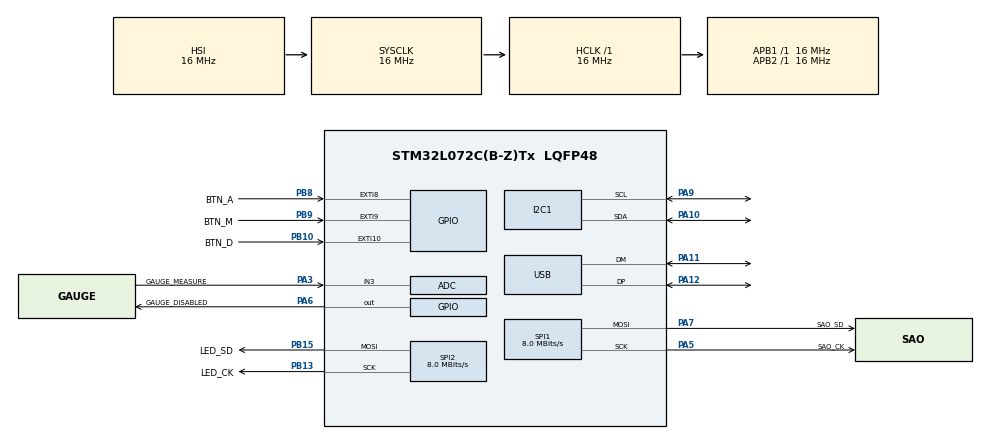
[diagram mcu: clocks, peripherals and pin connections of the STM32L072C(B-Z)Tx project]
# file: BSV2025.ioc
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ADC.ClockPrescaler=ADC_CLOCK_SYNC_PCLK_DIV1
ADC.ContinuousConvMode=DISABLE
ADC.DMAContinuousRequests=DISABLE
ADC.DataAlign=ADC_DATAALIGN_RIGHT
ADC.DiscontinuousConvMode=DISABLE
ADC.EOCSelection=ADC_EOC_SEQ_CONV
ADC.LowPowerAutoPowerOff=DISABLE
ADC.LowPowerAutoWait=DISABLE
ADC.LowPowerFrequencyMode=DISABLE
ADC.Overrun=ADC_OVR_DATA_PRESERVED
ADC.SamplingTime=ADC_SAMPLETIME_19CYCLES_5
ADC.ScanConvMode=ADC_SCAN_DIRECTION_FORWARD
Dma.ADC.2.Direction=DMA_PERIPH_TO_MEMORY
Dma.ADC.2.Instance=DMA1_Channel1
Dma.ADC.2.MemDataAlignment=DMA_MDATAALIGN_HALFWORD
Dma.ADC.2.MemInc=DMA_MINC_ENABLE
Dma.ADC.2.Mode=DMA_NORMAL
Dma.ADC.2.PeriphDataAlignment=DMA_PDATAALIGN_HALFWORD
Dma.ADC.2.PeriphInc=DMA_PINC_DISABLE
Dma.ADC.2.Priority=DMA_PRIORITY_LOW
Dma.Request0=SPI2_TX
Dma.Request1=SPI1_TX
Dma.Request2=ADC
Dma.SPI1_TX.1.Direction=DMA_MEMORY_TO_PERIPH
Dma.SPI1_TX.1.Instance=DMA1_Channel3
Dma.SPI1_TX.1.MemDataAlignment=DMA_MDATAALIGN_BYTE
Dma.SPI1_TX.1.MemInc=DMA_MINC_ENABLE
Dma.SPI1_TX.1.Mode=DMA_NORMAL
Dma.SPI1_TX.1.PeriphDataAlignment=DMA_PDATAALIGN_BYTE
Dma.SPI1_TX.1.PeriphInc=DMA_PINC_DISABLE
Dma.SPI1_TX.1.Priority=DMA_PRIORITY_LOW
Dma.SPI2_TX.0.Direction=DMA_MEMORY_TO_PERIPH
Dma.SPI2_TX.0.Instance=DMA1_Channel5
Dma.SPI2_TX.0.MemDataAlignment=DMA_MDATAALIGN_BYTE
Dma.SPI2_TX.0.MemInc=DMA_MINC_ENABLE
Dma.SPI2_TX.0.Mode=DMA_NORMAL
Dma.SPI2_TX.0.PeriphDataAlignment=DMA_PDATAALIGN_BYTE
Dma.SPI2_TX.0.PeriphInc=DMA_PINC_DISABLE
Dma.SPI2_TX.0.Priority=DMA_PRIORITY_LOW
I2C1.I2C_Fall_Time=0
I2C1.I2C_Rise_Time=0
I2C1.NoStretchMode=I2C_NOSTRETCH_DISABLE
I2C1.Timing=0x00303D5B
Mcu.Family=STM32L0
Mcu.Name=STM32L072C(B-Z)Tx
Mcu.Package=LQFP48
NVIC.DMA1_Channel1_IRQn=true\:0\:0\:false\:false\:true\:false\:true\:true
NVIC.DMA1_Channel2_3_IRQn=true\:0\:0\:false\:false\:true\:false\:true\:true
NVIC.DMA1_Channel4_5_6_7_IRQn=true\:0\:0\:false\:false\:true\:false\:true\:true
NVIC.EXTI4_15_IRQn=true\:0\:0\:false\:false\:true\:true\:true\:true
NVIC.USB_IRQn=true\:0\:0\:false\:false\:true\:false\:true\:true
PA10.GPIO_Pu=GPIO_NOPULL
PA10.Mode=I2C
PA10.Signal=I2C1_SDA
PA11.Mode=Device
PA11.Signal=USB_DM
PA12.Mode=Device
PA12.Signal=USB_DP
PA13.Mode=Serial_Wire
PA13.Signal=SYS_SWDIO
PA14.Mode=Serial_Wire
PA14.Signal=SYS_SWCLK
PA3.GPIO_Label=GAUGE_MEASURE
PA3.Mode=IN3
PA3.Signal=ADC_IN3
PA5.GPIO_Label=SAO_CK
PA5.Mode=TX_Only_Simplex_Unidirect_Master
PA5.Signal=SPI1_SCK
PA6.GPIO_Label=GAUGE_DISABLED
PA6.PinState=GPIO_PIN_SET
PA6.Signal=GPIO_Output
PA7.GPIO_Label=SAO_SD
PA7.Mode=TX_Only_Simplex_Unidirect_Master
PA7.Signal=SPI1_MOSI
PA9.GPIO_Pu=GPIO_NOPULL
PA9.Mode=I2C
PA9.Signal=I2C1_SCL
PB10.GPIO_Label=BTN_D
PB10.GPIO_ModeDefaultEXTI=GPIO_MODE_IT_FALLING
PB10.GPIO_PuPd=GPIO_PULLUP
PB10.Signal=GPXTI10
PB13.GPIO_Label=LED_CK
PB13.Mode=TX_Only_Simplex_Unidirect_Master
PB13.Signal=SPI2_SCK
PB15.GPIO_Label=LED_SD
PB15.Mode=TX_Only_Simplex_Unidirect_Master
PB15.Signal=SPI2_MOSI
PB8.GPIO_Label=BTN_A
PB8.GPIO_ModeDefaultEXTI=GPIO_MODE_IT_FALLING
PB8.GPIO_PuPd=GPIO_PULLUP
PB8.Signal=GPXTI8
PB9.GPIO_Label=BTN_M
PB9.GPIO_ModeDefaultEXTI=GPIO_MODE_IT_FALLING
PB9.GPIO_PuPd=GPIO_PULLDOWN
PB9.Signal=GPXTI9
ProjectManager.HeapSize=0x200
ProjectManager.StackSize=0x400
ProjectManager.TargetToolchain=STM32CubeIDE
RCC.AHBFreq_Value=16000000
RCC.APB1Freq_Value=16000000
RCC.APB1TimFreq_Value=16000000
RCC.APB2Freq_Value=16000000
RCC.APB2TimFreq_Value=16000000
RCC.HCLKFreq_Value=16000000
RCC.HSE_VALUE=8000000
RCC.HSI16_VALUE=16000000
RCC.HSI48MClockSelection=RCC_USBCLKSOURCE_HSI48
RCC.HSI48_VALUE=48000000
RCC.HSI_VALUE=16000000
RCC.LSE_VALUE=32768
RCC.MSI_VALUE=2097000
RCC.PLLMUL=RCC_PLLMUL_6
RCC.SYSCLKFreq_VALUE=16000000
RCC.SYSCLKSource=RCC_SYSCLKSOURCE_HSI
RCC.VCOOutputFreq_Value=96000000
SPI1.CalculateBaudRate=8.0 MBits/s
SPI1.Direction=SPI_DIRECTION_2LINES
SPI1.Mode=SPI_MODE_MASTER
SPI1.VirtualType=VM_MASTER
SPI2.BaudRatePrescaler=SPI_BAUDRATEPRESCALER_2
SPI2.CalculateBaudRate=8.0 MBits/s
SPI2.Direction=SPI_DIRECTION_2LINES
SPI2.Mode=SPI_MODE_MASTER
SPI2.VirtualType=VM_MASTER
USB.low_power_enable=DISABLE
USB_DEVICE.CLASS_NAME_FS=CDC
USB_DEVICE.MANUFACTURER_STRING=BSides Vilnius
USB_DEVICE.PRODUCT_STRING_CDC_FS=BSides Vilnius 2025 Badge
USB_DEVICE.VirtualMode=Cdc
USB_DEVICE.VirtualModeFS=Cdc_FS
VP_ADC_Vref_Input.Mode=IN-Vrefint
VP_USB_DEVICE_VS_USB_DEVICE_CDC_FS.Mode=CDC_FS
board=custom

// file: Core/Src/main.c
/* USER CODE BEGIN Header */
/**
  ******************************************************************************
  * @file           : main.c
  * @brief          : Main program body
  ******************************************************************************
  * @attention
  *
  * Copyright (c) 2025, BSides Vilnius
  *
  * This software is licensed under terms that can be found in the LICENSE file
  * in the root directory of this software component.
  *
  ******************************************************************************
  */
/* USER CODE END Header */
#include "main.h"
#include "adc.h"
#include "dma.h"
#include "i2c.h"
#include "spi.h"
#include "usb_device.h"
#include "gpio.h"

/* USER CODE BEGIN Includes */
//#include "errno.h" //EBADF
//#include "unistd.h" //STD*_FILENO
#include "effects.h"
#include "console.h"
#include "settings.h"
#include "sao.h"
#include <stdio.h>
/* USER CODE END Includes */

/* USER CODE BEGIN PD */
#define BTN_M_LIMIT			6
#define BTN_A_LIMIT			2
#define BTN_D_LIMIT			5
#define BTN_DEBOUNCE_DELAY	200
#define BTN_SEQ_LEN		21
/* USER CODE END PD */

/* USER CODE BEGIN PV */
uint16_t btn_m = 0; //brightness
uint16_t btn_a = 0; //sparkle toggle
uint16_t btn_d = 0; //effect
uint32_t btn_last_tick = 0; //used for debouncing

// record button sequence
uint8_t btn_seq[BTN_SEQ_LEN] = {0};
uint8_t btn_seq_idx =0;
/* USER CODE END PV */

void SystemClock_Config(void);

/* USER CODE BEGIN 0 */
uint8_t check_sparkle_secret() {
	const uint8_t key[BTN_SEQ_LEN]={1,1,2,2,3,3,1,2,1,2,3,2,3,2,3,3,2,2,1,1,2};
	int queue_idx;
	for (uint8_t idx=0; idx<BTN_SEQ_LEN; idx++) {
		queue_idx = (idx+btn_seq_idx)%BTN_SEQ_LEN;
		if (key[idx] != btn_seq[queue_idx]) {
//			printf("fail at %d (%d vs %d).\r\n", idx, key[idx], btn_seq[queue_idx]);
			return 0;
		}
	}
	printf("Sparkle mode unlocked.\r\n");
	return 1;
}

// return pointer to a function based on button D value
effect_function_t button_vaule_to_effect() {
	while (1) {
		switch (btn_d) {
			case 0:
				return &effect_pulse_green;
			case 1:
				return &effect_pulse_blue;
			case 2:
				return &effect_pulse_red;
			case 3:
				if (settings.speaker==1) {
					return &effect_wave;
				} else {
					btn_d++;
					btn_d%=BTN_D_LIMIT;
				}
				break;
			case 4:
				if (settings.sponsor==1) {
					return &effect_fire;
				} else {
					btn_d++;
					btn_d%=BTN_D_LIMIT;
				}
				break;
			default:
				btn_d=0;
				break;
		}
	}
}
/* USER CODE END 0 */

int main(void)
{

  /* MCU Configuration--------------------------------------------------------*/

  /* Reset of all peripherals, Initializes the Flash interface and the Systick. */
  HAL_Init();

  /* Configure the system clock */
  SystemClock_Config();

  /* Initialize all configured peripherals */
  MX_GPIO_Init();
  MX_DMA_Init();
  MX_ADC_Init();
  MX_SPI1_Init();
  MX_SPI2_Init();
  MX_USB_DEVICE_Init();
  MX_I2C1_Init();
  /* USER CODE BEGIN 2 */
  HAL_ADCEx_Calibration_Start(&hadc, ADC_SINGLE_ENDED);
  /* USER CODE END 2 */

  /* Infinite loop */
  /* USER CODE BEGIN WHILE */
  const uint32_t data_size = (LED_COUNT+2)*4;
  uint8_t data[data_size];
  memset(data, 0, data_size);
  void * data_led_p = data+4;
  sk9822_t leds[LED_COUNT];
  static effect_function_t active_effect;

  settings_load();
  sao_activate();

  //adjust btn_d value to set the default effect
  switch (sao_active_driver_id) {
  	  case 2:
		  btn_d=3;
		  break;
  	  case 3:
  		  btn_d=4;
  		  break;
  }

  while (1)
  {
	active_effect = button_vaule_to_effect();
	active_effect(leds, LED_COUNT, btn_m+1);

	if (btn_a == 1) {
		if (settings.sparkle == 1) {
			effect_sparkle(leds, LED_COUNT, btn_m+1);
		} else if (check_sparkle_secret() == 1) {
			settings.sparkle=1;
			settings_save();
			btn_m = 0; //reset brightness
		} else {
			btn_a = 0;
		}
	}

	//write led values into the SPI data struct
	//data = start frame + data_led_p + end frame
	memcpy(data_led_p, leds, LED_COUNT*4);

	HAL_Delay(50);
	HAL_SPI_Transmit_DMA(&hspi1, data, data_size);
	HAL_SPI_Transmit_DMA(&hspi2, data, data_size); //duplicate effect on

	console_run_pending();
    /* USER CODE END WHILE */

  }
}

void SystemClock_Config(void)
{
  RCC_OscInitTypeDef RCC_OscInitStruct = {0};
  RCC_ClkInitTypeDef RCC_ClkInitStruct = {0};
  RCC_PeriphCLKInitTypeDef PeriphClkInit = {0};

  /** Configure the main internal regulator output voltage
  */
  __HAL_PWR_VOLTAGESCALING_CONFIG(PWR_REGULATOR_VOLTAGE_SCALE1);

  /** Initializes the RCC Oscillators according to the specified parameters
  * in the RCC_OscInitTypeDef structure.
  */
  RCC_OscInitStruct.OscillatorType = RCC_OSCILLATORTYPE_HSI|RCC_OSCILLATORTYPE_HSI48;
  RCC_OscInitStruct.HSIState = RCC_HSI_ON;
  RCC_OscInitStruct.HSICalibrationValue = RCC_HSICALIBRATION_DEFAULT;
  RCC_OscInitStruct.HSI48State = RCC_HSI48_ON;
  RCC_OscInitStruct.PLL.PLLState = RCC_PLL_NONE;
  if (HAL_RCC_OscConfig(&RCC_OscInitStruct) != HAL_OK)
  {
    Error_Handler();
  }

  /** Initializes the CPU, AHB and APB buses clocks
  */
  RCC_ClkInitStruct.ClockType = RCC_CLOCKTYPE_HCLK|RCC_CLOCKTYPE_SYSCLK
                              |RCC_CLOCKTYPE_PCLK1|RCC_CLOCKTYPE_PCLK2;
  RCC_ClkInitStruct.SYSCLKSource = RCC_SYSCLKSOURCE_HSI;
  RCC_ClkInitStruct.AHBCLKDivider = RCC_SYSCLK_DIV1;
  RCC_ClkInitStruct.APB1CLKDivider = RCC_HCLK_DIV1;
  RCC_ClkInitStruct.APB2CLKDivider = RCC_HCLK_DIV1;

  if (HAL_RCC_ClockConfig(&RCC_ClkInitStruct, FLASH_LATENCY_0) != HAL_OK)
  {
    Error_Handler();
  }
  PeriphClkInit.PeriphClockSelection = RCC_PERIPHCLK_I2C1|RCC_PERIPHCLK_USB;
  PeriphClkInit.I2c1ClockSelection = RCC_I2C1CLKSOURCE_PCLK1;
  PeriphClkInit.UsbClockSelection = RCC_USBCLKSOURCE_HSI48;
  if (HAL_RCCEx_PeriphCLKConfig(&PeriphClkInit) != HAL_OK)
  {
    Error_Handler();
  }
}

/* USER CODE BEGIN 4 */
void HAL_GPIO_EXTI_Callback(uint16_t GPIO_Pin) {
	uint32_t current = HAL_GetTick();
//	printf("%lu-%lu=%ld\r\n", current, btn_last, current-btn_last);
	if (current - btn_last_tick < BTN_DEBOUNCE_DELAY) {
		return;
	}
	switch (GPIO_Pin) {
		case BTN_M_Pin:
			btn_m = (btn_m+1)%BTN_M_LIMIT;
			btn_seq[btn_seq_idx]=1;
			break;
		case BTN_A_Pin:
			btn_a = (btn_a+1)%BTN_A_LIMIT;
			btn_seq[btn_seq_idx]=2;
			break;
		case BTN_D_Pin:
			btn_d = (btn_d+1)%BTN_D_LIMIT;
			btn_seq[btn_seq_idx]=3;
			break;
	}
	btn_last_tick = current;
//	int queue_idx;
//	for (int i=0; i<BTN_QUEUE_LEN; i++) {
//		queue_idx = (i+btn_queue_idx+1)%BTN_QUEUE_LEN;
//		printf("%d ", btn_queue[queue_idx]);
//	}
//	printf("\r\n");
	btn_seq_idx++;
	btn_seq_idx%=BTN_SEQ_LEN;
}
/* USER CODE END 4 */

void Error_Handler(void)
{
  __disable_irq();
  while (1)
  {
  }
}
